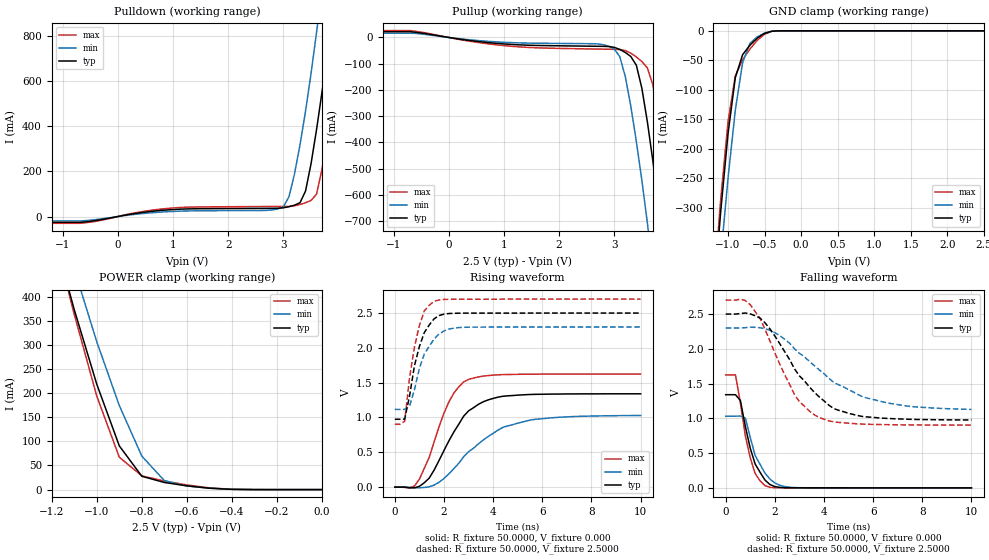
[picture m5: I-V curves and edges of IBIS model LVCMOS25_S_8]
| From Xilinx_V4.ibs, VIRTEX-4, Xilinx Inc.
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|   Model LVCMOS25_S_8
[Model]   LVCMOS25_S_8
Model_type   I/O
Polarity   Non-Inverting
Enable   Active-Low
Vinh = 1.7V
Vinl = 0.7V
Vmeas =   1.2500V
Cref =  0.000F
Rref =   1.0000M
Vref =  0.000V
C_comp   8.0000pF   8.0000pF   8.0000pF
[Temperature Range]   25.0000   85.0000   0.000
[Voltage Range]   2.5000V   2.3000V   2.7000V
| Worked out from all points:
|   slope of the pulldown table from 0 to 0.375 V, typ, clamps not added: 24 ohm
|   slope of the pullup table from 0 to 0.375 V, typ, clamps not added: 32.9 ohm
|   GND clamp passes 1 mA (typ) near -0.41 V on its own axis
|   POWER clamp passes 1 mA (typ) near -0.42 V on its own axis
|   rising waveform, R_fixture 50.0000, V_fixture 0.000: 20-80 % time 1.31ns typ, 1.98ns min, 1.05ns max; typ from 0 V to 1.34 V
|   rising waveform, R_fixture 50.0000, V_fixture 2.5000: 20-80 % time 594ps typ, 719ps min, 516ps max; typ from 0.974 V to 2.5 V
|   falling waveform, R_fixture 50.0000, V_fixture 0.000: 20-80 % time 627ps typ, 683ps min, 535ps max; typ from 1.34 V to 0 V
|   falling waveform, R_fixture 50.0000, V_fixture 2.5000: 20-80 % time 1.92ns typ, 2.64ns min, 1.43ns max; typ from 2.5 V to 0.976 V
[Pulldown]
| voltage   I(typ)   I(min)   I(max)
-2.5V     -26.07mA   -19.87mA   -30.09mA
3V        38.69mA    43.48mA    44.58mA
3.1V      43.38mA    87.84mA    45.08mA
3.3V      61.15mA    318.4mA    53.28mA
3.4V      112.9mA    467.2mA    61.19mA
3.5V      234.2mA    634.5mA    71.29mA
3.6V      386.2mA    817.4mA    99.29mA
3.7V      554.3mA    1.01A      211.7mA
3.8V      735.6mA    1.209A     376.7mA
4V        1.123A     1.611A     752.3mA
4.2V      1.526A     2.013A     1.155A
5V        3.157A     3.627A     2.855A
[Pullup]
| voltage   I(typ)   I(min)   I(max)
-2.5V     22.08mA    16.22mA    26.29mA
-700mV    22.08mA    16.22mA    26.29mA
2.7V      -33.56mA   -24.54mA   -44.23mA
3V        -37.71mA   -44.14mA   -45.21mA
3.2V      -57.23mA   -149.5mA   -50.1mA
3.4V      -105.9mA   -396.7mA   -74.32mA
3.6V      -322.3mA   -707.2mA   -115.9mA
3.7V      -471.5mA   -886.9mA   -181.9mA
3.8V      -635.5mA   -1.081A    -306.5mA
4V        -1.012A    -1.477A    -628.5mA
4.2V      -1.422A    -1.874A    -1.005A
5V        -3.071A    -3.467A    -2.691A
[GND_clamp]
| voltage   I(typ)   I(min)   I(max)
-2.5V     -3.065A    -3.063A    -3.107A
-1.2V     -458.4mA   -535.2mA   -443.2mA
-1.1V     -307mA     -386mA     -286.5mA
-1V       -174.9mA   -250.6mA   -154.8mA
-900mV    -79.61mA   -134.7mA   -76.27mA
-800mV    -40.54mA   -53.98mA   -48.94mA
-700mV    -24.41mA   -21.32mA   -30.96mA
-600mV    -12.44mA   -10.24mA   -16.17mA
-500mV    -4.23mA    -3.859mA   -5.633mA
-400mV    -647uA     -794.1uA   -841.7uA
-300mV    -43.22uA   -80.7uA    -50.76uA
2.5V      253.9nA    6.694uA    250.9nA
[POWER_clamp]
| voltage   I(typ)   I(min)   I(max)
-2.5V     3.15A      3.218A     3.278A
-1.2V     543.3mA    626.5mA    548.4mA
-1.1V     373.1mA    457.2mA    363.5mA
-1V       218.5mA    306.5mA    193.9mA
-900mV    90.67mA    174.3mA    67.17mA
-800mV    27.68mA    69.38mA    28.46mA
-700mV    14.76mA    18.63mA    17.76mA
-600mV    7.79mA     7.541mA    9.625mA
-500mV    2.851mA    2.955mA    3.657mA
-400mV    489.5uA    668.3uA    637.7uA
0V        253.9nA    271nA      271.7nA
[Ramp]
| variable   typ   min   max
dV/dt_r   0.8040/1.3517n   0.6168/2.0250n   0.9744/1.0100n
dV/dt_f   0.9142/1.9153n   0.7026/2.6452n   1.0783/1.4734n
R_load = 50.0000
[Rising Waveform]
R_fixture = 50.0000
V_fixture = 0.000
| time   V(typ)   V(min)   V(max)
0s        0V         648.4nV    0V
600ps     -10.94mV   -2.967mV   -10.85mV
1ns       11.49mV    -9.562mV   113.1mV
1.4ns     129.7mV    3.733mV    428.4mV
2.2ns     664.3mV    190.6mV    1.224V
2.6ns     902.7mV    341.4mV    1.44V
3ns       1.095V     508.4mV    1.548V
4.4ns     1.305V     858.9mV    1.616V
5.4ns     1.329V     953.9mV    1.622V
10ns      1.34V      1.028V     1.624V
[Rising Waveform]
R_fixture = 50.0000
V_fixture = 2.5000
V_fixture_min = 2.3000
V_fixture_max = 2.7000
| time   V(typ)   V(min)   V(max)
0s        974.5mV    1.116V     902.5mV
400ps     976.7mV    1.116V     943.6mV
600ps     1.311V     1.162V     1.574V
800ps     1.746V     1.402V     2.014V
1ns       2.02V      1.706V     2.322V
1.2ns     2.22V      1.913V     2.531V
1.6ns     2.418V     2.127V     2.668V
2ns       2.485V     2.243V     2.696V
2.6ns     2.498V     2.291V     2.699V
10ns      2.5V       2.3V       2.7V
[Falling Waveform]
R_fixture = 50.0000
V_fixture = 0.000
| time   V(typ)   V(min)   V(max)
0s        1.34V      1.031V     1.624V
400ps     1.34V      1.031V     1.625V
600ps     1.256V     1.033V     1.22V
800ps     883.9mV    1.003V     751.1mV
1ns       570.8mV    726.7mV    432mV
1.2ns     343.5mV    464.6mV    207.5mV
1.6ns     111.9mV    211.5mV    31.92mV
2ns       18.44mV    71mV       2.522mV
2.8ns     906.6uV    4.079mV    552.2uV
10ns      4.318uV    23.99uV    1.16uV
[Falling Waveform]
R_fixture = 50.0000
V_fixture = 2.5000
V_fixture_min = 2.3000
V_fixture_max = 2.7000
| time   V(typ)   V(min)   V(max)
0s        2.5V       2.3V       2.7V
800ps     2.515V     2.304V     2.694V
1.4ns     2.441V     2.303V     2.438V
2.2ns     2.075V     2.189V     1.78V
2.8ns     1.712V     2.001V     1.341V
3.8ns     1.31V      1.699V     1.014V
4.4ns     1.14V      1.516V     948.5mV
5.6ns     1.024V     1.306V     916.4mV
7.6ns     984.9mV    1.167V     904.8mV
10ns      976.4mV    1.129V     902.8mV
